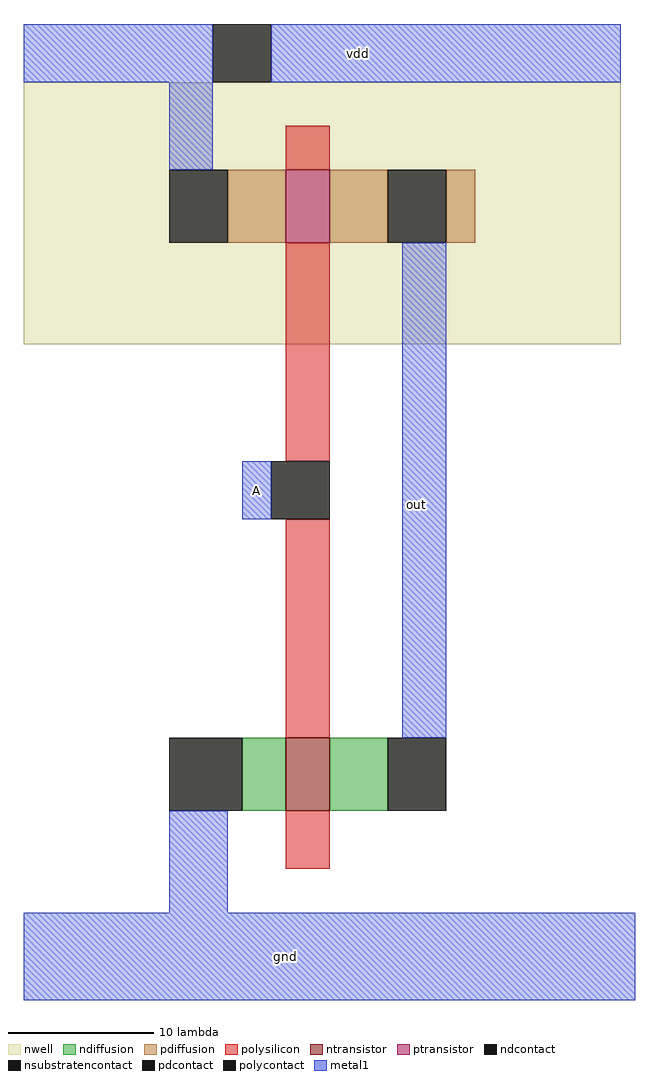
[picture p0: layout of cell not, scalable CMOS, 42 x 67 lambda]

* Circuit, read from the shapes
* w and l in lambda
.subckt not A gnd out vdd
M1 out A gnd VSUBS nfet w=5 l=3
M2 out A vdd n1 pfet w=5 l=3
.ends

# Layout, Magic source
magic
tech scmos
<< nwell >>
rect -21 11 20 29
<< polysilicon >>
rect -3 23 0 26
rect -3 3 0 18
rect -3 -16 0 -1
rect -3 -25 0 -21
<< ndiffusion >>
rect -6 -21 -3 -16
rect 0 -21 4 -16
<< pdiffusion >>
rect -7 18 -3 23
rect 0 18 4 23
rect 8 18 10 23
<< metal1 >>
rect -21 29 -8 33
rect -4 29 20 33
rect -11 23 -8 29
rect -6 -1 -4 3
rect 5 -16 8 18
rect -11 -28 -7 -21
rect -21 -34 21 -28
<< ntransistor >>
rect -3 -21 0 -16
<< ptransistor >>
rect -3 18 0 23
<< polycontact >>
rect -4 -1 0 3
<< ndcontact >>
rect -11 -21 -6 -16
rect 4 -21 8 -16
<< pdcontact >>
rect -11 18 -7 23
rect 4 18 8 23
<< nsubstratencontact >>
rect -8 29 -4 33
<< labels >>
rlabel metal1 -5 1 -5 1 1 A
rlabel metal1 6 0 6 0 1 out
rlabel metal1 2 31 2 31 5 vdd
rlabel metal1 -3 -31 -3 -31 1 gnd
<< end >>
